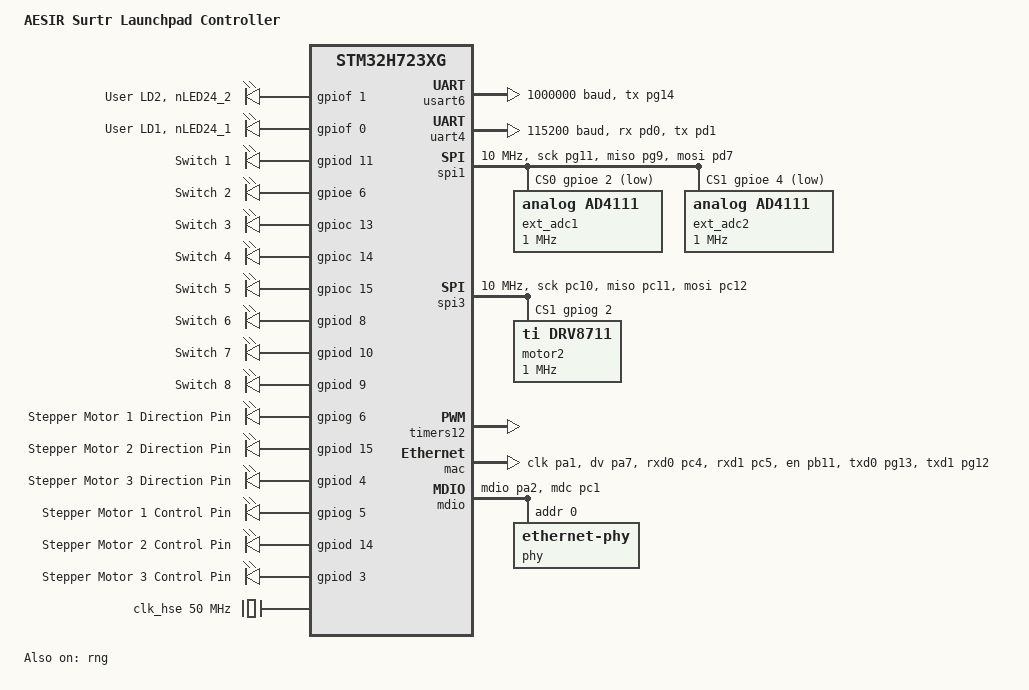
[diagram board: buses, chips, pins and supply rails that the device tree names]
/*
 * Copyright (c) 2020 Alexander Kozhinov <AlexanderKozhinov@yandex.com>
 * SPDX-License-Identifier: Apache-2.0
 */

 /dts-v1/;
 #include <st/h7/stm32h723Xg.dtsi>
 #include <st/h7/stm32h723zgtx-pinctrl.dtsi>
 #include <zephyr/dt-bindings/input/input-event-codes.h>

 /*
  * WARNING:
  * JP6 and SB72 must be ON when using Ethernet.
  */

 / {
	 model = "AESIR Surtr Launchpad Controller";
	 compatible = "aesir,surtr";

	 chosen {
		 zephyr,console = &usart6;
		 zephyr,dtcm = &dtcm;
		 zephyr,sram = &sram0;
		 zephyr,flash = &flash0;
	 };

	leds: leds {
		compatible = "gpio-leds";
		nled24_2: led_0 {
			gpios = <&gpiof 1 GPIO_ACTIVE_HIGH>;
			label = "User LD2, nLED24_2";
		};

		nled24_1: led_1 {
			gpios = <&gpiof 0 GPIO_ACTIVE_HIGH>;
			label = "User LD1, nLED24_1";
		};

		sw1: sw_1 {
			gpios = <&gpiod 11 GPIO_ACTIVE_HIGH>;
			label = "Switch 1";
		};

		sw2: sw_2 {
			gpios = <&gpioe 6 GPIO_ACTIVE_HIGH>;
			label = "Switch 2";
		};

		sw3: sw_3 {
			gpios = <&gpioc 13 GPIO_ACTIVE_HIGH>;
			label = "Switch 3";
		};

		sw4: sw_4 {
			gpios = <&gpioc 14 GPIO_ACTIVE_HIGH>;
			label = "Switch 4";
		};

		sw5: sw_5 {
			gpios = <&gpioc 15 GPIO_ACTIVE_HIGH>;
			label = "Switch 5";
		};

		sw6: sw_6 {
			gpios = <&gpiod 8 GPIO_ACTIVE_HIGH>;
			label = "Switch 6";
		};

		sw7: sw_7 {
			gpios = <&gpiod 10 GPIO_ACTIVE_HIGH>;
			label = "Switch 7";
		};

		sw8: sw_8 {
			gpios = <&gpiod 9 GPIO_ACTIVE_HIGH>;
			label = "Switch 8";
		};
	};

	stepctrls: stepper_controls {
		compatible = "gpio-leds";
		step1_dir: stepper1_direction {
			gpios = <&gpiog 6 GPIO_ACTIVE_HIGH>;
			label = "Stepper Motor 1 Direction Pin";
		};
		step2_dir: stepper2_direction {
			gpios = <&gpiod 15 GPIO_ACTIVE_HIGH>;
			label = "Stepper Motor 2 Direction Pin";
		};
		step3_dir: stepper3_direction {
			gpios = <&gpiod 4 GPIO_ACTIVE_HIGH>;
			label = "Stepper Motor 3 Direction Pin";
		};
		step1_ctrl: stepper1_control {
			gpios = <&gpiog 5 GPIO_ACTIVE_HIGH>;
			label = "Stepper Motor 1 Control Pin";
		};
		step2_ctrl: stepper2_control {
			gpios = <&gpiod 14 GPIO_ACTIVE_HIGH>;
			label = "Stepper Motor 2 Control Pin";
		};
		step3_ctrl: stepper3_control {
			gpios = <&gpiod 3 GPIO_ACTIVE_HIGH>;
			label = "Stepper Motor 3 Control Pin";
		};
	};

	aliases {
		// led0 = &nled24_1;
		led0 = &nled24_2;
		// led0 = &sw1;
		// led1 = &nled24_2;
		led1 = &nled24_1;
		switch1 = &sw1;
		switch2 = &sw2;
		switch3 = &sw3;
		switch4 = &sw4;
		switch5 = &sw5;
		switch6 = &sw6;
		switch7 = &sw7;
		switch8 = &sw8;
		xadc1 = &ext_adc1;
		xadc2 = &ext_adc2;

		motor1 = &motor2;
		motor2 = &motor1;
		motor3 = &motor3;

		external-uart = &uart4;

		step1-ctrl = &step2_ctrl;
		step1-dir = &step2_dir;
		step2-ctrl = &step1_ctrl;
		step2-dir = &step1_dir;
		step3-ctrl = &step3_ctrl;
		step3-dir = &step3_dir;
	};
 };

 &clk_lsi {
	 status = "okay";
 };

 &clk_hsi {
	hsi-div = <1>;
	status = "okay";
};

 &clk_hsi48 {
	 status = "okay";
 };

 &clk_hse {
	//  hse-bypass;
	 clock-frequency = <DT_FREQ_M(50)>; /* onboard 50MHz clock */
	 status = "okay";
 };

 &pll {
	div-m = <4>;
	mul-n = <44>;
	div-p = <1>;
	div-q = <4>;
	div-r = <2>;
	clocks = <&clk_hse>;
	status = "okay";
 };

 &rcc {
	clocks = <&pll>;
	clock-frequency = <DT_FREQ_M(550)>;
	d1cpre = <1>;
	hpre = <2>;    /* HCLK: 275   MHz */
	d1ppre = <2>;  /* APB1: 137.5 MHz */
	d2ppre1 = <2>; /* APB2: 137.5 MHz */
	d2ppre2 = <2>; /* APB3: 137.5 MHz */
	d3ppre = <2>;  /* APB4: 137.5 MHz */
 };

 &usart6 {
	pinctrl-0 = <&usart6_tx_pg14>;
	pinctrl-names = "default";
	current-speed = <1000000>;
	fifo-enable;
	status = "okay";
 };

 &uart4 {
	pinctrl-0 = <&uart4_rx_pd0 &uart4_tx_pd1>;
	pinctrl-names = "default";
	current-speed = <115200>;
	fifo-enable;
	status = "okay";
 };

//  &rtc {
// 	 clocks = <&rcc STM32_CLOCK_BUS_APB4 0x00010000>,
// 		  <&rcc STM32_SRC_LSI RTC_SEL(2)>;
// 	 status = "disabled";
//  };

// spi1 is for the ADCs
// ADC1_CS on PE11, ADC2_CS on PE12
&spi1 {
    // compatible = "zephyr,spi-emul-controller";
    // compatible = "spi-device"
    status = "okay";
	pinctrl-0 = <&spi1_sck_pg11 &spi1_miso_pg9 &spi1_mosi_pd7>;
	pinctrl-names = "default";
    cs-gpios = <&gpioe 2 GPIO_ACTIVE_LOW>,
               <&gpioe 4 GPIO_ACTIVE_LOW>;
	clock-frequency = <10000000>;

    ext_adc1: ad4111@0 {
		compatible = "analog,ad4111";
        status = "okay";
        reg = <0>;
        spi-max-frequency = <1000000>;
    };

    ext_adc2: ad4111@1 {
		compatible = "analog,ad4111";
        status = "okay";
        reg = <1>;
        spi-max-frequency = <1000000>;
    };
};

&spi3 {
	status = "okay";
	pinctrl-0 = <&spi3_sck_pc10 &spi3_miso_pc11 &spi3_mosi_pc12>;
	pinctrl-names = "default";
	cs-gpios = //<&gpiod 0 (GPIO_ACTIVE_HIGH | GPIO_PULL_DOWN)>,
	 	<&gpiog 2 (GPIO_ACTIVE_HIGH | GPIO_PULL_DOWN)>,
	 	<&gpiog 2 (GPIO_ACTIVE_HIGH | GPIO_PULL_DOWN)>,
		<&gpiod 5 (GPIO_ACTIVE_HIGH | GPIO_PULL_DOWN)>;
	 clock-frequency = <10000000>;


	motor1: spi3@0 {
		status = "disabled";
		compatible = "ti,drv8711";
		spi-max-frequency = <1000000>;
		// dir-gpios = <&gpiog 6 GPIO_ACTIVE_HIGH>;
		// step-gpios = <&gpiog 5 GPIO_ACTIVE_HIGH>;
		reg = <0>;
	};
	motor2: spi3@1 {
		status = "okay";
		compatible = "ti,drv8711";
		spi-max-frequency = <1000000>;
		// dir-gpios = <&gpiod 15 GPIO_ACTIVE_HIGH>;
		// step-gpios = <&gpiod 14 GPIO_ACTIVE_HIGH>;
		reg = <1>;
	};
	motor3: spi3@2 {
		status = "disabled";
		compatible = "ti,drv8711";
		spi-max-frequency = <1000000>;
		// dir-gpios = <&gpiod 4 GPIO_ACTIVE_HIGH>;
		// step-gpios = <&gpiod 3 GPIO_ACTIVE_HIGH>;
		reg = <2>;
	};
};

//  &i2c1 {
// 	 pinctrl-0 = <&i2c1_scl_pb8 &i2c1_sda_pb9>;
// 	 pinctrl-names = "default";
// 	 status = "disabled";
// 	 clock-frequency = <I2C_BITRATE_FAST>;
//  };

 &backup_sram {
	 status = "okay";
 };

 &timers12 {
	 st,prescaler = <10000>;
	 status = "okay";

	 pwm12: pwm {
		 status = "okay";
		 pinctrl-0 = <&tim12_ch1_pb14>;
		 pinctrl-names = "default";
	 };
 };

&pinctrl {
	rcc_mco_1_pa8_fast: rcc_mco_1_pa8_fast {
		pinmux = <STM32_PINMUX('A', 8, AF0)>;
		slew-rate = "very-high-speed";
	};
};

 &mac {
	// note that we add the MCO clock pin in this pinctrl-0
	status = "okay";
	pinctrl-0 = <&eth_ref_clk_pa1
	&eth_crs_dv_pa7
	&eth_rxd0_pc4
	&eth_rxd1_pc5
	&eth_tx_en_pb11
	&eth_txd0_pg13
	&eth_txd1_pg12
	&rcc_mco_1_pa8_fast
	>;
	pinctrl-names = "default";
};

&mdio {
	status = "okay";
	pinctrl-0 = <&eth_mdio_pa2 &eth_mdc_pc1>;
	pinctrl-names = "default";

	phy: ethernet-phy@0 {
		compatible = "ethernet-phy";
		reg = <0>;
		status = "okay";
	};
};

 &rng {
	 status = "okay";
 };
